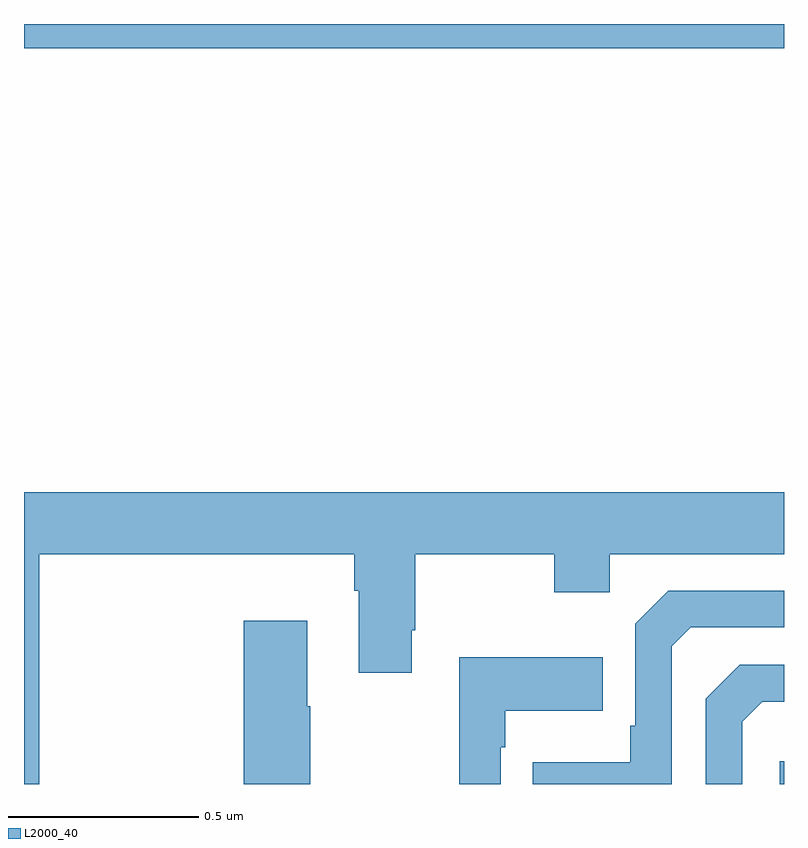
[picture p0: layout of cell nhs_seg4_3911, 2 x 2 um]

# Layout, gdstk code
import gdstk
lib = gdstk.Library(unit=1e-6, precision=1e-09)
def R(c, l, rs):  # rectangles x0, y0, x1, y1
    for r in rs: c.add(gdstk.rectangle(r[:2], r[2:], *l))
def P(c, l, *ps):  # polygons
    for p in ps: c.add(gdstk.Polygon(p, *l))
L2000_40 = (2000, 40)

nhs_seg4_3911 = lib.new_cell('nhs_seg4_3911')
R(nhs_seg4_3911, L2000_40, [(160.989,778.9,161,778.96), (159,780.836,161,780.9)])
P(nhs_seg4_3911, L2000_40, [(159.04,779.504),(159.869,779.504),(159.869,779.408),(159.881,779.408),(159.881,779.193),(160.021,779.193),(160.021,779.305),(160.029,779.305),(160.029,779.504),(160.396,779.504),(160.396,779.405),(160.542,779.405),(160.542,779.504),(161,779.504),(161,779.668),(159,779.668),(159,778.9),(159.04,778.9)],
  [(160.704,779.262),(160.755,779.313),(161,779.313),(161,779.409),(160.695,779.409),(160.608,779.322),(160.608,779.053),(160.596,779.053),(160.596,778.957),(160.339,778.957),(160.339,778.9),(160.704,778.9)],
  [(159.753,779.105),(159.745,779.105),(159.745,779.329),(159.578,779.329),(159.578,778.9),(159.753,778.9)],
  [(160.254,778.997),(160.267,778.997),(160.267,779.093),(160.523,779.093),(160.523,779.233),(160.146,779.233),(160.146,778.9),(160.254,778.9)],
  [(160.89,779.064),(160.943,779.117),(161,779.117),(161,779.214),(160.884,779.214),(160.794,779.124),(160.794,778.9),(160.89,778.9)])

lib.write_gds('nhs_seg4_3911.gds')
